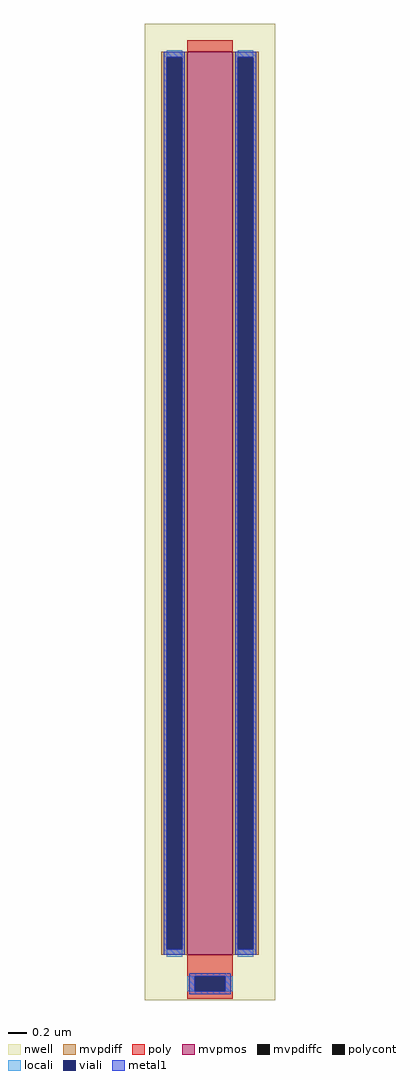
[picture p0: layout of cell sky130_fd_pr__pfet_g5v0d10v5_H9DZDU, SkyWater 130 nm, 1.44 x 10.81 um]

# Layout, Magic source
magic
tech sky130A
magscale 1 2
<< nwell >>
rect -144 -1064 144 1098
<< mvpmos >>
rect -50 -964 50 1036
<< mvpdiff >>
rect -108 1024 -50 1036
rect -108 -952 -96 1024
rect -62 -952 -50 1024
rect -108 -964 -50 -952
rect 50 1024 108 1036
rect 50 -952 62 1024
rect 96 -952 108 1024
rect 50 -964 108 -952
<< mvpdiffc >>
rect -96 -952 -62 1024
rect 62 -952 96 1024
<< poly >>
rect -50 1036 50 1062
rect -50 -1011 50 -964
rect -50 -1045 -34 -1011
rect 34 -1045 50 -1011
rect -50 -1061 50 -1045
<< polycont >>
rect -34 -1045 34 -1011
<< locali >>
rect -96 1024 -62 1040
rect -96 -968 -62 -952
rect 62 1024 96 1040
rect 62 -968 96 -952
rect -50 -1045 -34 -1011
rect 34 -1045 50 -1011
<< viali >>
rect -96 -952 -62 1024
rect 62 -952 96 1024
rect -34 -1045 34 -1011
<< metal1 >>
rect -102 1024 -56 1036
rect -102 -952 -96 1024
rect -62 -952 -56 1024
rect -102 -964 -56 -952
rect 56 1024 102 1036
rect 56 -952 62 1024
rect 96 -952 102 1024
rect 56 -964 102 -952
rect -46 -1011 46 -1005
rect -46 -1045 -34 -1011
rect 34 -1045 46 -1011
rect -46 -1051 46 -1045
<< properties >>
string gencell sky130_fd_pr__pfet_g5v0d10v5
string library sky130
string parameters w 10 l 0.50 m 1 nf 1 diffcov 100 polycov 100 guard 0 glc 1 grc 1 gtc 1 gbc 1 tbcov 100 rlcov 100 topc 0 botc 1 poverlap 0 doverlap 1 lmin 0.50 wmin 0.42 compatible {sky130_fd_pr__pfet_01v8  sky130_fd_pr__pfet_01v8_lvt sky130_fd_pr__pfet_01v8_hvt  sky130_fd_pr__pfet_g5v0d10v5} full_metal 1 viasrc 100 viadrn 100 viagate 100 viagb 0 viagr 0 viagl 0 viagt 0
<< end >>
